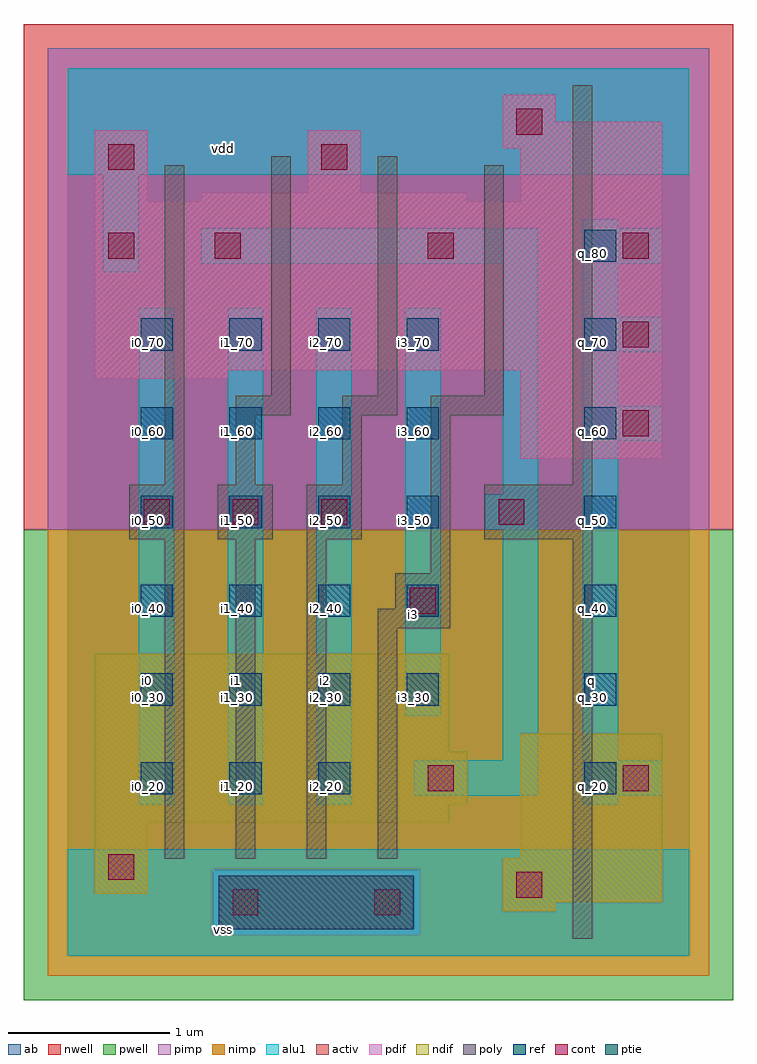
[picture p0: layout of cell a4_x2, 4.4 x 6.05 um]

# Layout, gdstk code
import gdstk
lib = gdstk.Library(unit=1e-6, precision=2.5e-09)
def R(c, l, rs):  # rectangles x0, y0, x1, y1
    for r in rs: c.add(gdstk.rectangle(r[:2], r[2:], *l))
def A(c, l, x, y, w, h, nx, ny, dx, dy):  # array of equal rectangles
    R(c, l, [(x+i*dx, y+j*dy, x+i*dx+w, y+j*dy+h) for i in range(nx) for j in range(ny)])
ndif = (3, 0)
pdif = (4, 0)
ptie = (6, 0)
ref = (24, 0)
cont = (25, 0)
pwell = (41, 0)
nwell = (42, 0)
activ = (43, 0)
pimp = (44, 0)
nimp = (45, 0)
poly = (46, 0)
alu1 = (49, 0)
ab = (63, 0)

a4_x2 = lib.new_cell('a4_x2')
R(a4_x2, ndif, [(2.695,0.275,3.025,0.33), (2.695,0.33,3.685,0.605), (0.165,0.385,0.495,0.825), (2.805,0.605,3.685,1.375), (0.165,0.825,2.365,0.935), (0.165,0.935,2.475,1.265), (0.165,1.265,2.365,1.87)])
R(a4_x2, pdif, [(2.805,3.08,3.685,3.63), (0.165,3.575,0.99,3.63), (0.165,3.63,3.685,4.675), (0.165,4.675,0.495,5.115), (0.825,4.675,2.475,4.73), (2.805,4.675,3.685,5.005), (1.485,4.73,1.815,5.115), (2.695,5.005,3.685,5.17), (2.695,5.17,3.025,5.335)])
R(a4_x2, ptie, [(0.935,0.165,2.145,0.495)])
A(a4_x2, ref, 0.45, 1, 0.2, 0.2, 3, 1, 0.55, 0)
A(a4_x2, ref, 3.2, 1, 0.2, 0.2, 1, 7, 0, 0.55)
A(a4_x2, ref, 0.45, 1.55, 0.2, 0.2, 4, 5, 0.55, 0.55)
A(a4_x2, cont, 0.47, 2.67, 0.16, 0.16, 3, 1, 0.55, 0)
A(a4_x2, cont, 3.44, 3.22, 0.16, 0.16, 1, 3, 0, 0.55)
R(a4_x2, cont, [(1.02,0.25,1.18,0.41), (1.9,0.25,2.06,0.41), (2.78,0.36,2.94,0.52), (0.25,0.47,0.41,0.63), (2.23,1.02,2.39,1.18), (3.44,1.02,3.6,1.18), (2.12,2.12,2.28,2.28), (2.67,2.67,2.83,2.83), (0.25,4.32,0.41,4.48), (0.91,4.32,1.07,4.48), (2.23,4.32,2.39,4.48), (0.25,4.87,0.41,5.03), (1.57,4.87,1.73,5.03), (2.78,5.09,2.94,5.25)])
R(a4_x2, pwell, [(-0.275,-0.275,4.125,2.64)])
R(a4_x2, nwell, [(-0.275,2.64,4.125,5.775)])
R(a4_x2, activ, [(0.935,0.165,2.145,0.495), (2.695,0.275,3.025,0.33), (2.695,0.33,3.685,0.605), (0.165,0.385,0.495,0.825), (2.805,0.605,3.685,1.375), (0.165,0.825,2.365,0.935), (0.165,0.935,2.475,1.265), (0.165,1.265,2.365,1.87), (2.805,3.08,3.685,3.63), (0.165,3.575,0.99,3.63), (0.165,3.63,3.685,4.675), (0.165,4.675,0.495,5.115), (0.825,4.675,2.475,4.73), (2.805,4.675,3.685,5.005), (1.485,4.73,1.815,5.115), (2.695,5.005,3.685,5.17), (2.695,5.17,3.025,5.335)])
R(a4_x2, pimp, [(0.895,0.125,2.185,0.535), (-0.125,2.64,3.975,5.625)])
R(a4_x2, nimp, [(-0.125,-0.125,3.975,0.125), (-0.125,0.125,0.895,0.535), (2.185,0.125,3.975,0.535), (-0.125,0.535,3.975,2.64)])
A(a4_x2, poly, 0.6, 0.6, 0.12, 1.98, 3, 1, 0.44, 0)
A(a4_x2, poly, 0.38, 2.58, 0.34, 0.34, 3, 1, 0.55, 0)
R(a4_x2, poly, [(3.13,0.105,3.25,2.58), (1.92,0.6,2.04,2.03), (1.92,2.03,2.37,2.15), (2.03,2.15,2.37,2.37), (2.25,2.37,2.37,3.35), (2.58,2.58,3.25,2.92), (0.6,2.92,0.72,4.9), (1.04,2.92,1.16,3.35), (1.7,2.92,1.82,3.35), (3.13,2.92,3.25,5.395), (1.04,3.35,1.38,3.47), (1.7,3.35,2.04,3.47), (2.25,3.35,2.7,3.47), (1.26,3.47,1.38,4.955), (1.92,3.47,2.04,4.955), (2.58,3.47,2.7,4.9)])
A(a4_x2, alu1, 0.44, 0.935, 0.22, 3.08, 3, 1, 0.55, 0)
A(a4_x2, alu1, 3.19, 3.19, 0.495, 0.22, 1, 3, 0, 0.55)
R(a4_x2, alu1, [(0,0,3.85,0.66), (3.19,0.935,3.41,0.99), (2.145,0.99,2.915,1.21), (3.19,0.99,3.685,1.21), (2.695,1.21,2.915,2.64), (3.19,1.21,3.41,3.19), (2.09,1.485,2.31,4.015), (2.585,2.64,2.915,2.86), (2.695,2.86,2.915,4.29), (3.19,3.41,3.41,3.74), (3.19,3.96,3.41,4.29), (0.22,4.235,0.44,4.84), (0.825,4.29,2.915,4.51), (3.19,4.51,3.41,4.565), (0,4.84,3.85,5.5)])
R(a4_x2, ab, [(0,0,3.85,5.5)])
a4_x2.add(gdstk.Label('vss', (0.9625,0.165), layer=49, texttype=0))
a4_x2.add(gdstk.Label('q', (3.245,1.705), layer=49, texttype=0))
a4_x2.add(gdstk.Label('i3', (2.145,2.1175), layer=49, texttype=0))
a4_x2.add(gdstk.Label('i2', (1.595,1.705), layer=49, texttype=0))
a4_x2.add(gdstk.Label('i1', (1.045,1.705), layer=49, texttype=0))
a4_x2.add(gdstk.Label('i0', (0.495,1.705), layer=49, texttype=0))
a4_x2.add(gdstk.Label('vdd', (0.9625,5.005), layer=49, texttype=0))
a4_x2.add(gdstk.Label('i2_20', (1.6,1.05), layer=24, texttype=0))
a4_x2.add(gdstk.Label('i1_20', (1.05,1.05), layer=24, texttype=0))
a4_x2.add(gdstk.Label('i0_20', (0.5,1.05), layer=24, texttype=0))
a4_x2.add(gdstk.Label('q_20', (3.25,1.05), layer=24, texttype=0))
a4_x2.add(gdstk.Label('q_30', (3.25,1.6), layer=24, texttype=0))
a4_x2.add(gdstk.Label('q_40', (3.25,2.15), layer=24, texttype=0))
a4_x2.add(gdstk.Label('q_50', (3.25,2.7), layer=24, texttype=0))
a4_x2.add(gdstk.Label('q_60', (3.25,3.25), layer=24, texttype=0))
a4_x2.add(gdstk.Label('q_70', (3.25,3.8), layer=24, texttype=0))
a4_x2.add(gdstk.Label('q_80', (3.25,4.35), layer=24, texttype=0))
a4_x2.add(gdstk.Label('i1_50', (1.05,2.7), layer=24, texttype=0))
a4_x2.add(gdstk.Label('i1_40', (1.05,2.15), layer=24, texttype=0))
a4_x2.add(gdstk.Label('i1_30', (1.05,1.6), layer=24, texttype=0))
a4_x2.add(gdstk.Label('i2_30', (1.6,1.6), layer=24, texttype=0))
a4_x2.add(gdstk.Label('i2_40', (1.6,2.15), layer=24, texttype=0))
a4_x2.add(gdstk.Label('i1_70', (1.05,3.8), layer=24, texttype=0))
a4_x2.add(gdstk.Label('i2_60', (1.6,3.25), layer=24, texttype=0))
a4_x2.add(gdstk.Label('i2_70', (1.6,3.8), layer=24, texttype=0))
a4_x2.add(gdstk.Label('i3_70', (2.15,3.8), layer=24, texttype=0))
a4_x2.add(gdstk.Label('i3_60', (2.15,3.25), layer=24, texttype=0))
a4_x2.add(gdstk.Label('i3_50', (2.15,2.7), layer=24, texttype=0))
a4_x2.add(gdstk.Label('i3_40', (2.15,2.15), layer=24, texttype=0))
a4_x2.add(gdstk.Label('i3_30', (2.15,1.6), layer=24, texttype=0))
a4_x2.add(gdstk.Label('i1_60', (1.05,3.25), layer=24, texttype=0))
a4_x2.add(gdstk.Label('i2_50', (1.6,2.7), layer=24, texttype=0))
a4_x2.add(gdstk.Label('i0_70', (0.5,3.8), layer=24, texttype=0))
a4_x2.add(gdstk.Label('i0_60', (0.5,3.25), layer=24, texttype=0))
a4_x2.add(gdstk.Label('i0_50', (0.5,2.7), layer=24, texttype=0))
a4_x2.add(gdstk.Label('i0_40', (0.5,2.15), layer=24, texttype=0))
a4_x2.add(gdstk.Label('i0_30', (0.5,1.6), layer=24, texttype=0))

lib.write_gds('a4_x2.gds')
